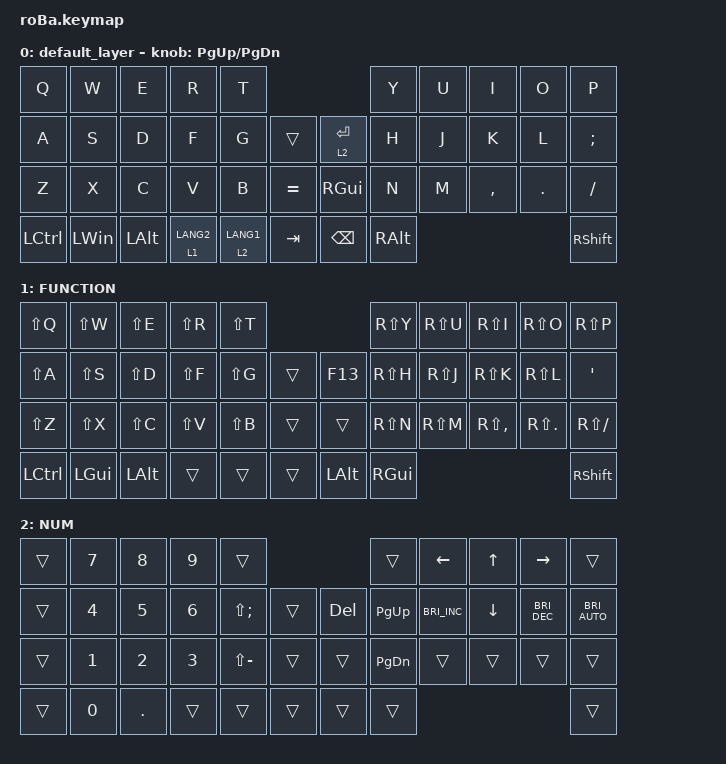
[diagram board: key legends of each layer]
#include <behaviors.dtsi>
#include <dt-bindings/zmk/keys.h>

&mt {
    flavor = "balanced";
    quick-tap-ms = <0>;
};

&trackball {
    automouse-layer = <4>;
    scroll-layers = <5>;

    // arrows {
    //     layers = <3>;
    //     bindings =
    //         <&kp RIGHT_ARROW>,
    //         <&kp LEFT_ARROW>,
    //         <&kp UP_ARROW>,
    //         <&kp DOWN_ARROW>;
    //     tick = <10>;
    //     wait-ms = <5>;
    //     tap-ms = <5>;
    // };
};

/ {
    combos {
        compatible = "zmk,combos";

        tab {
            bindings = <&kp TAB>;
            key-positions = <11 12>;
        };

        shift_tab {
            bindings = <&kp LS(TAB)>;
            key-positions = <12 13>;
        };

        muhennkann {
            bindings = <&to_layer_0 INT_MUHENKAN>;
            key-positions = <11 10>;
        };

        double_quotation {
            bindings = <&kp DOUBLE_QUOTES>;
            key-positions = <20 21>;
        };

        eq {
            bindings = <&kp EQUAL>;
            key-positions = <24 25>;
        };
    };

    macros {
        to_layer_0: to_layer_0 {
            compatible = "zmk,behavior-macro-one-param";
            #binding-cells = <1>;
            bindings = <&to 0 &macro_param_1to1 &kp MACRO_PLACEHOLDER>;
            label = "TO_LAYER_0";
        };
    };

    behaviors {
        lt_to_layer_0: lt_to_layer_0 {
            compatible = "zmk,behavior-hold-tap";
            label = "LAYER_TAP_TO_0";
            bindings = <&mo>, <&to_layer_0>;

            #binding-cells = <2>;
            tapping-term-ms = <200>;
        };
    };

    keymap {
        compatible = "zmk,keymap";

        default_layer {
            bindings = <
&kp Q      &kp W         &kp E         &kp R        &kp T                                      &kp Y          &kp U  &kp I      &kp O    &kp P
&kp A      &kp S         &kp D         &kp F        &kp G        &trans         &lt 2 ENTER    &kp H          &kp J  &kp K      &kp L    &kp SEMICOLON
&kp Z      &kp X         &kp C         &kp V        &kp B        &kp EQUAL      &kp RIGHT_GUI  &kp N          &kp M  &kp COMMA  &kp DOT  &kp SLASH
&kp LCTRL  &kp LEFT_WIN  &kp LEFT_ALT  &lt 1 LANG2  &lt 2 LANG1  &kp TAB        &kp BACKSPACE  &kp RIGHT_ALT                             &kp RSHFT
            >;

            sensor-bindings = <&inc_dec_kp PG_UP PAGE_DOWN>;
        };

        FUNCTION {
            bindings = <
&kp LS(Q)  &kp LS(W)  &kp LS(E)  &kp LS(R)  &kp LS(T)                            &kp RS(Y)      &kp RS(U)  &kp RS(I)      &kp RS(O)    &kp RS(P)
&kp LS(A)  &kp LS(S)  &kp LS(D)  &kp LS(F)  &kp LS(G)  &trans      &kp F13       &kp RS(H)      &kp RS(J)  &kp RS(K)      &kp RS(L)    &kp SINGLE_QUOTE
&kp LS(Z)  &kp LS(X)  &kp LS(C)  &kp LS(V)  &kp LS(B)  &trans      &trans        &kp RS(N)      &kp RS(M)  &kp RS(COMMA)  &kp RS(DOT)  &kp RS(SLASH)
&kp LCTRL  &kp LGUI   &kp LALT   &trans     &trans     &trans      &kp LEFT_ALT  &kp RIGHT_GUI                                         &kp RSHFT
            >;
        };

        NUM {
            bindings = <
&trans  &kp N7  &kp N8   &kp N9  &trans                                  &trans         &kp LEFT              &kp UP_ARROW    &kp RIGHT             &trans
&trans  &kp N4  &kp N5   &kp N6  &kp LS(SEMICOLON)  &trans      &kp DEL  &kp PG_UP      &kp C_BRIGHTNESS_INC  &kp DOWN_ARROW  &kp C_BRIGHTNESS_DEC  &kp C_BRIGHTNESS_AUTO
&trans  &kp N1  &kp N2   &kp N3  &kp LS(MINUS)      &trans      &trans   &kp PAGE_DOWN  &trans                &trans          &trans                &trans
&trans  &kp N0  &kp DOT  &trans  &trans             &trans      &trans   &trans                                                                     &trans
            >;
        };
    };
};
